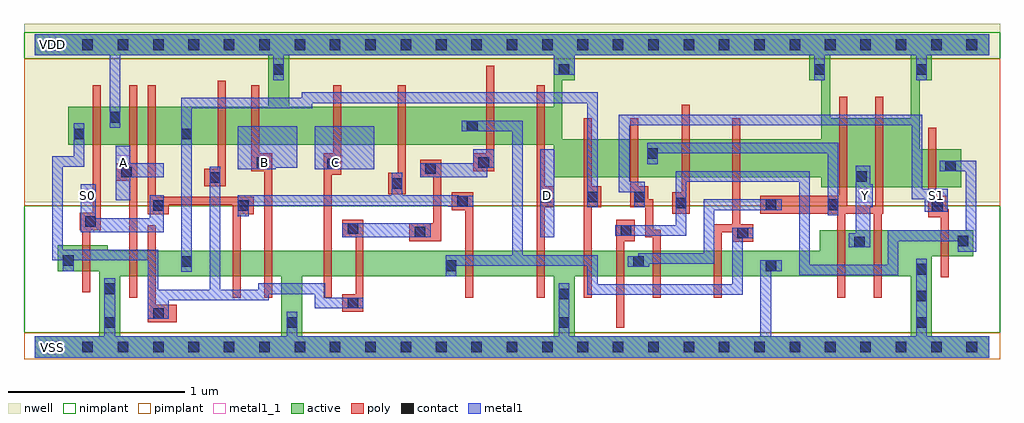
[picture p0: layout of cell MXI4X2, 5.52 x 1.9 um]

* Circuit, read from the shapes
.subckt MXI4X2 A B C D S0 S1 VDD VSS Y
M1 VSS S0 n1 VSS nfet w=0.145u l=0.045u
M2 n2 A VSS VSS nfet w=0.145u l=0.045u
M3 n3 n1 n2 VSS nfet w=0.145u l=0.045u
M4 n4 S0 n3 VSS nfet w=0.145u l=0.045u
M5 VSS B n4 VSS nfet w=0.145u l=0.045u
M6 n5 C VSS VSS nfet w=0.145u l=0.045u
M7 n6 n1 n5 VSS nfet w=0.145u l=0.045u
M8 n7 S0 n6 VSS nfet w=0.145u l=0.045u
M9 VSS D n7 VSS nfet w=0.145u l=0.045u
M10 n8 n3 VSS VSS nfet w=0.145u l=0.045u
M11 n9 n10 n8 VSS nfet w=0.145u l=0.045u
M12 n11 S1 n9 VSS nfet w=0.145u l=0.045u
M13 VSS n6 n11 VSS nfet w=0.145u l=0.045u
M14 Y n9 VSS VSS nfet w=0.26u l=0.045u m=2
M15 n10 S1 VSS VSS nfet w=0.145u l=0.045u
M16 VDD S0 n1 VDD pfet w=0.215u l=0.045u
M17 n12 A VDD VDD pfet w=0.215u l=0.045u
M18 n3 S0 n12 VDD pfet w=0.215u l=0.045u
M19 n13 n1 n3 VDD pfet w=0.215u l=0.045u
M20 VDD B n13 VDD pfet w=0.215u l=0.045u
M21 n14 C VDD VDD pfet w=0.215u l=0.045u
M22 n6 S0 n14 VDD pfet w=0.215u l=0.045u
M23 n15 n1 n6 VDD pfet w=0.215u l=0.045u
M24 VDD D n15 VDD pfet w=0.215u l=0.045u
M25 n16 n3 VDD VDD pfet w=0.215u l=0.045u
M26 n9 S1 n16 VDD pfet w=0.215u l=0.045u
M27 n17 n10 n9 VDD pfet w=0.215u l=0.045u
M28 VDD n6 n17 VDD pfet w=0.215u l=0.045u
M29 Y n9 VDD VDD pfet w=0.39u l=0.045u m=2
M30 n10 S1 VDD VDD pfet w=0.215u l=0.045u
.ends

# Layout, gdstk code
import gdstk
lib = gdstk.Library(unit=1e-6, precision=5e-10)
def R(c, l, rs):  # rectangles x0, y0, x1, y1
    for r in rs: c.add(gdstk.rectangle(r[:2], r[2:], *l))
def A(c, l, x, y, w, h, nx, ny, dx, dy):  # array of equal rectangles
    R(c, l, [(x+i*dx, y+j*dy, x+i*dx+w, y+j*dy+h) for i in range(nx) for j in range(ny)])
def P(c, l, *ps):  # polygons
    for p in ps: c.add(gdstk.Polygon(p, *l))
active = (1, 0)
nwell = (2, 0)
poly = (3, 0)
nimplant = (4, 0)
pimplant = (5, 0)
contact = (6, 0)
metal1 = (7, 0)
metal1_1 = (7, 1)

mxi4x2 = lib.new_cell('MXI4X2')
P(mxi4x2, active, [(0,1.77),(5.4,1.77),(5.4,1.65),(5.075,1.65),(5.075,1.51),(5.005,1.51),(5.005,1.12),(5.24,1.12),(5.24,0.905),(4.45,0.905),(4.45,0.96),(2.935,0.96),(2.935,1.145),(0.19,1.145),(0.19,1.36),(1.32,1.36),(1.32,1.65),(1.44,1.65),(1.44,1.36),(2.935,1.36),(2.935,1.65),(3.055,1.65),(3.055,1.51),(2.985,1.51),(2.985,1.175),(4.45,1.175),(4.45,1.51),(4.38,1.51),(4.38,1.65),(4.5,1.65),(4.5,1.295),(4.955,1.295),(4.955,1.65),(0,1.65)],
  [(0.13,0.575),(0.415,0.575),(0.415,0.545),(4.44,0.545),(4.44,0.66),(5.31,0.66),(5.31,0.515),(5.075,0.515),(5.075,0.06),(5.4,0.06),(5.4,-0.06),(0,-0.06),(0,0.06),(0.365,0.06),(0.365,0.4),(0.485,0.4),(0.485,0.06),(1.395,0.06),(1.395,0.4),(1.515,0.4),(1.515,0.06),(2.935,0.06),(2.935,0.4),(3.055,0.4),(3.055,0.06),(4.955,0.06),(4.955,0.4),(0.365,0.4),(0.365,0.43),(0.13,0.43)])
R(mxi4x2, nwell, [(-0.06,0.82,5.46,1.83)])
P(mxi4x2, poly, [(0.33,1.48),(0.375,1.48),(0.375,0.66),(0.315,0.66),(0.315,0.31),(0.27,0.31),(0.27,0.66),(0.255,0.66),(0.255,0.76),(0.33,0.76)],
  [(0.535,1.48),(0.58,1.48),(0.58,0.28),(0.535,0.28),(0.535,0.94),(0.46,0.94),(0.46,1.04),(0.535,1.04)],
  [(0.64,1.48),(0.685,1.48),(0.685,0.85),(1.24,0.85),(1.24,0.75),(1.165,0.75),(1.165,0.28),(1.12,0.28),(1.12,0.805),(0.76,0.805),(0.76,0.75),(0.64,0.75)],
  [(1.035,1.505),(1.08,1.505),(1.08,0.91),(0.96,0.91),(0.96,1.01),(1.035,1.01)],
  [(1.225,1.48),(1.27,1.48),(1.27,1.095),(1.345,1.095),(1.345,0.28),(1.3,0.28),(1.3,0.995),(1.225,0.995)],
  [(1.69,1.48),(1.735,1.48),(1.735,0.975),(1.68,0.975),(1.68,0.28),(1.635,0.28),(1.635,1.095),(1.69,1.095)],
  [(2.055,1.48),(2.1,1.48),(2.1,0.865),(2,0.865),(2,0.985),(2.055,0.985)],
  [(2.555,1.59),(2.6,1.59),(2.6,0.995),(2.48,0.995),(2.48,1.095),(2.555,1.095)],
  [(2.84,1.48),(2.885,1.48),(2.885,0.91),(2.94,0.91),(2.94,0.79),(2.885,0.79),(2.885,0.28),(2.84,0.28)],
  [(4.55,1.415),(4.595,1.415),(4.595,0.8),(4.755,0.8),(4.755,1.415),(4.8,1.415),(4.8,0.755),(4.79,0.755),(4.79,0.28),(4.745,0.28),(4.745,0.755),(4.585,0.755),(4.585,0.28),(4.54,0.28),(4.54,0.755),(4.105,0.755),(4.105,0.855),(4.55,0.855)],
  [(3.105,1.295),(3.15,1.295),(3.15,0.91),(3.205,0.91),(3.205,0.79),(3.15,0.79),(3.15,0.28),(3.105,0.28)],
  [(3.37,1.295),(3.415,1.295),(3.415,0.91),(3.47,0.91),(3.47,0.835),(3.5,0.835),(3.5,0.665),(3.54,0.665),(3.54,0.28),(3.495,0.28),(3.495,0.62),(3.455,0.62),(3.455,0.79),(3.37,0.79)],
  [(3.66,1.37),(3.705,1.37),(3.705,0.755),(3.605,0.755),(3.605,0.875),(3.66,0.875)],
  [(3.945,1.295),(3.99,1.295),(3.99,0.695),(4.065,0.695),(4.065,0.595),(3.945,0.595),(3.945,0.65),(3.885,0.65),(3.885,0.28),(3.84,0.28),(3.84,0.695),(3.945,0.695)],
  [(2.18,1.06),(2.3,1.06),(2.3,0.6),(2.12,0.6),(2.12,0.7),(2.255,0.7),(2.255,0.96),(2.18,0.96)],
  [(5.055,1.24),(5.1,1.24),(5.1,0.855),(5.155,0.855),(5.155,0.78),(5.17,0.78),(5.17,0.395),(5.125,0.395),(5.125,0.735),(5.055,0.735)],
  [(1.74,0.72),(1.86,0.72),(1.86,0.2),(1.74,0.2),(1.74,0.3),(1.815,0.3),(1.815,0.62),(1.74,0.62)],
  [(0.64,0.69),(0.685,0.69),(0.685,0.24),(0.805,0.24),(0.805,0.14),(0.64,0.14)],
  [(2.36,0.875),(2.48,0.875),(2.48,0.28),(2.435,0.28),(2.435,0.775),(2.36,0.775)],
  [(3.29,0.72),(3.395,0.72),(3.395,0.6),(3.335,0.6),(3.335,0.11),(3.29,0.11)])
R(mxi4x2, nimplant, [(-0.06,0.08,5.46,0.8), (-0.06,1.63,5.46,1.78)])
R(mxi4x2, pimplant, [(-0.06,-0.07,5.46,0.08), (-0.06,0.8,5.46,1.63)])
A(mxi4x2, contact, 0.07, -0.03, 0.06, 0.06, 27, 2, 0.2, 1.71)
A(mxi4x2, contact, 4.985, 0.11, 0.06, 0.06, 1, 3, 0, 0.15)
A(mxi4x2, contact, 2.86, 0.82, 0.06, 0.06, 3, 1, 0.265, 0)
R(mxi4x2, contact, [(0.395,0.11,0.455,0.17), (1.425,0.11,1.485,0.17), (2.965,0.11,3.025,0.17), (0.67,0.16,0.73,0.22), (1.77,0.22,1.83,0.28), (2.965,0.27,3.025,0.33), (0.395,0.3,0.455,0.36), (2.325,0.43,2.385,0.49), (4.135,0.43,4.195,0.49), (0.83,0.455,0.89,0.515), (3.385,0.455,3.445,0.515), (0.16,0.46,0.22,0.52), (4.635,0.565,4.695,0.625), (5.22,0.57,5.28,0.63), (3.975,0.615,4.035,0.675), (2.15,0.62,2.21,0.68), (3.315,0.63,3.375,0.69), (1.77,0.64,1.83,0.7), (0.285,0.68,0.345,0.74), (5.075,0.765,5.135,0.825), (0.67,0.77,0.73,0.83), (1.15,0.77,1.21,0.83), (4.135,0.775,4.195,0.835), (4.485,0.775,4.545,0.835), (3.625,0.785,3.685,0.845), (2.39,0.795,2.45,0.855), (2.02,0.895,2.08,0.955), (0.99,0.93,1.05,0.99), (4.645,0.935,4.705,0.995), (0.49,0.96,0.55,1.02), (2.21,0.98,2.27,1.04), (5.15,0.995,5.21,1.055), (1.655,1.005,1.715,1.065), (1.255,1.015,1.315,1.075), (2.51,1.015,2.57,1.075), (3.465,1.065,3.525,1.125), (0.22,1.175,0.28,1.235), (0.83,1.175,0.89,1.235), (2.445,1.22,2.505,1.28), (0.425,1.27,0.485,1.33), (1.35,1.54,1.41,1.6), (2.965,1.54,3.025,1.6), (4.41,1.54,4.47,1.6), (4.985,1.54,5.045,1.6)])
R(mxi4x2, metal1, [(1.74,0.62,2.24,0.7), (2.86,0.62,2.94,1.12), (1.585,1.005,1.92,1.25)])
P(mxi4x2, metal1, [(0,1.77),(5.4,1.77),(5.4,1.65),(5.045,1.65),(5.045,1.51),(4.985,1.51),(4.985,1.65),(4.47,1.65),(4.47,1.51),(4.41,1.51),(4.41,1.65),(3.055,1.65),(3.055,1.54),(2.935,1.54),(2.935,1.65),(1.41,1.65),(1.41,1.51),(1.35,1.51),(1.35,1.65),(0.485,1.65),(0.485,1.24),(0.425,1.24),(0.425,1.65),(0,1.65)],
  [(1.51,1.44),(3.185,1.44),(3.185,0.79),(3.125,0.79),(3.125,1.38),(1.57,1.38),(1.57,1.35),(0.89,1.35),(0.89,0.425),(0.83,0.425),(0.83,1.41),(1.51,1.41)],
  [(0.22,1.265),(0.28,1.265),(0.28,1.02),(0.16,1.02),(0.16,0.55),(0.7,0.55),(0.7,0.325),(0.99,0.325),(0.99,1.02),(1.05,1.02),(1.05,0.325),(1.265,0.325),(1.265,0.36),(1.645,0.36),(1.645,0.28),(1.86,0.28),(1.86,0.22),(1.585,0.22),(1.585,0.3),(1.325,0.3),(1.325,0.265),(0.76,0.265),(0.76,0.16),(0.64,0.16),(0.64,0.49),(0.22,0.49),(0.22,0.43),(0.16,0.43),(0.16,0.49),(0.1,0.49),(0.1,1.08),(0.22,1.08)],
  [(0.46,1.14),(0.54,1.14),(0.54,1.04),(0.73,1.04),(0.73,0.96),(0.54,0.96),(0.54,0.83),(0.46,0.83)],
  [(0.26,0.92),(0.345,0.92),(0.345,0.73),(0.65,0.73),(0.65,0.86),(0.73,0.86),(0.73,0.65),(0.26,0.65)],
  [(4.105,0.49),(4.225,0.49),(4.225,0.43),(4.165,0.43),(4.165,0.06),(4.985,0.06),(4.985,0.5),(5.045,0.5),(5.045,0.06),(5.4,0.06),(5.4,-0.06),(0,-0.06),(0,0.06),(0.395,0.06),(0.395,0.39),(0.455,0.39),(0.455,0.06),(1.425,0.06),(1.425,0.2),(1.485,0.2),(1.485,0.06),(2.965,0.06),(2.965,0.36),(3.025,0.36),(3.025,0.06),(4.105,0.06)],
  [(2.415,1.28),(2.76,1.28),(2.76,0.52),(3.185,0.52),(3.185,0.355),(3.945,0.355),(3.945,0.675),(4.065,0.675),(4.065,0.615),(4.005,0.615),(4.005,0.295),(3.125,0.295),(3.125,0.46),(2.385,0.46),(2.385,0.4),(2.325,0.4),(2.325,0.52),(2.7,0.52),(2.7,1.22),(2.415,1.22)],
  [(1.15,1.25),(1.485,1.25),(1.485,1.015),(1.365,1.015),(1.365,1.005),(1.15,1.005)],
  [(2.02,0.985),(2.08,0.985),(2.08,0.86),(2.4,0.86),(2.4,0.855),(2.48,0.855),(2.48,0.795),(2.34,0.795),(2.34,0.8),(1.21,0.8),(1.21,0.74),(1.15,0.74),(1.15,0.86),(2.02,0.86)],
  [(2.48,1.12),(2.6,1.12),(2.6,1.015),(2.56,1.015),(2.56,0.96),(2.18,0.96),(2.18,1.04),(2.48,1.04)],
  [(3.305,1.315),(5.02,1.315),(5.02,0.895),(5.165,0.895),(5.165,0.765),(5.035,0.765),(5.035,0.835),(4.96,0.835),(4.96,1.255),(3.365,1.255),(3.365,0.935),(3.45,0.935),(3.45,0.79),(3.39,0.79),(3.39,0.875),(3.305,0.875)],
  [(3.465,1.155),(4.545,1.155),(4.545,0.745),(4.485,0.745),(4.485,1.095),(3.525,1.095),(3.525,1.035),(3.465,1.035)],
  [(5.12,1.055),(5.325,1.055),(5.325,0.54),(5.22,0.54),(5.22,0.6),(4.885,0.6),(4.885,0.405),(4.325,0.405),(4.325,0.935),(3.685,0.935),(3.685,0.63),(3.285,0.63),(3.285,0.69),(3.625,0.69),(3.625,0.995),(4.385,0.995),(4.385,0.465),(4.825,0.465),(4.825,0.66),(5.265,0.66),(5.265,0.995),(5.12,0.995)],
  [(3.785,0.835),(4.225,0.835),(4.225,0.775),(3.845,0.775),(3.845,0.47),(3.475,0.47),(3.475,0.455),(3.355,0.455),(3.355,0.515),(3.415,0.515),(3.415,0.53),(3.785,0.53)],
  [(4.645,1.025),(4.725,1.025),(4.725,0.92),(4.74,0.92),(4.74,0.79),(4.725,0.79),(4.725,0.565),(4.605,0.565),(4.605,0.645),(4.645,0.645)])
R(mxi4x2, metal1_1, [(0.06,-0.04,0.14,0.04), (0.26,0.815,0.34,0.895), (2.86,0.815,2.94,0.895), (4.66,0.815,4.74,0.895), (5.06,0.815,5.14,0.895), (0.46,1.005,0.54,1.085), (1.26,1.005,1.34,1.085), (1.66,1.005,1.74,1.085), (0.06,1.67,0.14,1.75)])
mxi4x2.add(gdstk.Label('Y', (4.7,0.855), layer=7, texttype=1))
mxi4x2.add(gdstk.Label('C', (1.7,1.045), layer=7, texttype=1))
mxi4x2.add(gdstk.Label('S0', (0.3,0.855), layer=7, texttype=1))
mxi4x2.add(gdstk.Label('B', (1.3,1.045), layer=7, texttype=1))
mxi4x2.add(gdstk.Label('A', (0.5,1.045), layer=7, texttype=1))
mxi4x2.add(gdstk.Label('S1', (5.1,0.855), layer=7, texttype=1))
mxi4x2.add(gdstk.Label('D', (2.9,0.855), layer=7, texttype=1))
mxi4x2.add(gdstk.Label('VDD', (0.1,1.71), layer=7, texttype=1))
mxi4x2.add(gdstk.Label('VSS', (0.1,0), layer=7, texttype=1))
mxi4x2.add(gdstk.Label('MXI4X2', (0,0), layer=63, texttype=0))

lib.write_gds('MXI4X2.gds')
